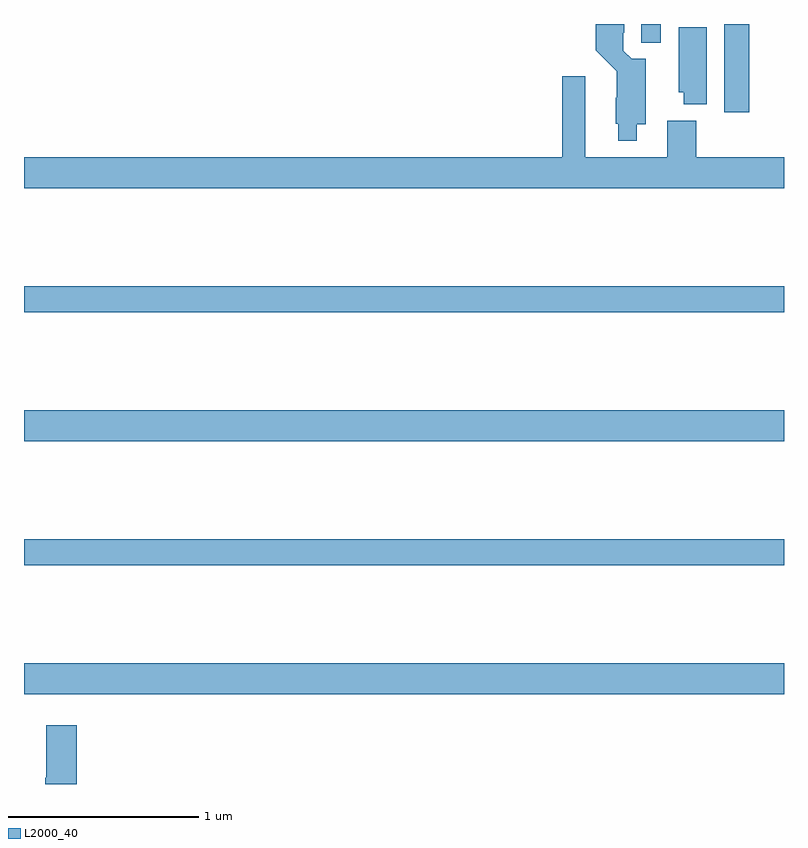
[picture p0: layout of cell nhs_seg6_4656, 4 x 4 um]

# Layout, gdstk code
import gdstk
lib = gdstk.Library(unit=1e-6, precision=1e-09)
def R(c, l, rs):  # rectangles x0, y0, x1, y1
    for r in rs: c.add(gdstk.rectangle(r[:2], r[2:], *l))
def P(c, l, *ps):  # polygons
    for p in ps: c.add(gdstk.Polygon(p, *l))
L2000_40 = (2000, 40)

nhs_seg6_4656 = lib.new_cell('nhs_seg6_4656')
R(nhs_seg6_4656, L2000_40, [(385,977.972,389,978.136), (385,978.652,389,978.788), (385,979.304,389,979.468), (385,979.984,389,980.12), (388.685,981.036,388.817,981.5), (388.248,981.401,388.351,981.5)])
P(nhs_seg6_4656, L2000_40, [(388.225,980.972),(388.273,980.972),(388.273,981.316),(388.199,981.316),(388.155,981.36),(388.155,981.454),(388.159,981.454),(388.159,981.5),(388.01,981.5),(388.01,981.362),(388.119,981.252),(388.119,981.113),(388.115,981.113),(388.115,980.976),(388.127,980.976),(388.127,980.885),(388.225,980.885)],
  [(388.594,981.482),(388.445,981.482),(388.445,981.141),(388.472,981.141),(388.472,981.077),(388.594,981.077)],
  [(389,980.8),(388.538,980.8),(388.538,980.992),(388.385,980.992),(388.385,980.8),(387.955,980.8),(387.955,981.226),(387.833,981.226),(387.833,980.8),(385,980.8),(385,980.636),(389,980.636)],
  [(385.277,977.809),(385.118,977.809),(385.118,977.533),(385.111,977.533),(385.111,977.5),(385.277,977.5)])

lib.write_gds('nhs_seg6_4656.gds')
